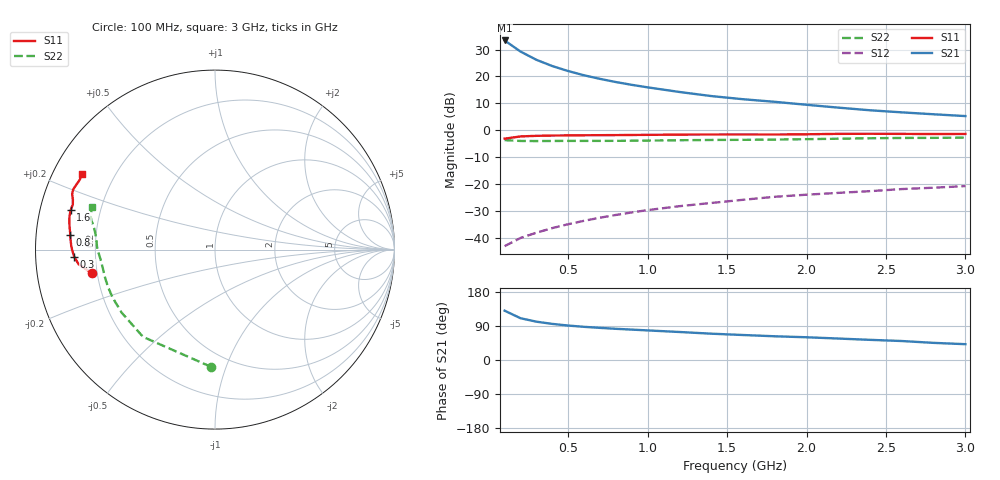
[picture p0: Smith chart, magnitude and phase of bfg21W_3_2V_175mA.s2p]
! Filename: 3_2175bfg21.001
! Title: BFG21W
! Bias: Vce=3.2V; Ic=175mA
! Company: Philips Semiconductors NL
! User: Quality&Reliability T&D
! Measure time: 10 Nov 1999 / 11:43:32
#  MHz  S  MA  R 50
! Freq  S11  S21  S12  S22  :
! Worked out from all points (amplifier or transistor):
!   20 points, 100 MHz to 3 GHz, reference 50 ohm
!   highest |S21| = 33.4 dB at 100 MHz (marker M1)
!   |S21| within 3 dB of that: start of sweep to 172.6 MHz
!   unconditionally stable (mu >= 1): 548.6 MHz to end of sweep
!   at 400 MHz: K = 0.95, MSG = 30.2 dB, |S12| = -36.5 dB
!   at 1.2 GHz: K = 1.06, MAG = 19.8 dB, |S12| = -28.3 dB
!   at 3 GHz: K = 1.05, MAG = 11.7 dB, |S12| = -20.8 dB
!   S11 on the Smith chart (normalised r, x): 100 MHz: 0.18, -0.09; 300 MHz: 0.12, -0.02; 800 MHz: 0.10, +0.05; 1.6 GHz: 0.09, +0.13; 3 GHz: 0.09, +0.26
100  0.6961 -169.0  46.84 130.1  0.006931 60.3  0.6532 -92.0
200  0.7648 -173.9  29.1 110.3  0.009842 58.3  0.6302 -129.5
300  0.7852 -177.1  20.44 101.1  0.01234 62.1  0.6276 -146.0
400  0.7944 -179.4  15.63 95.3  0.01504 65.5  0.6301 -155.0
500  0.8006 178.8  12.62 90.9  0.01777 67.9  0.6314 -160.8
600  0.8042 177.1  10.52 87.5  0.02056 69.7  0.632 -164.9
700  0.8076 175.6  9.029 84.8  0.02347 71.2  0.6323 -168.1
800  0.8105 174.1  7.881 82.3  0.02642 72.3  0.6337 -170.8
900  0.8145 172.7  6.988 80.3  0.02943 73.3  0.6368 -173.2
1000  0.8192 171.4  6.275 78.1  0.03252 73.9  0.6405 -175.3
1200  0.8272 169.0  5.147 73.9  0.03846 74.3  0.6498 -178.7
1400  0.8319 167.0  4.321 69.5  0.04415 74.1  0.6577 178.6
1600  0.8336 164.8  3.772 65.9  0.05059 74.0  0.6614 176.0
1800  0.8309 162.4  3.376 62.6  0.05755 73.7  0.669 173.3
2000  0.8395 160.6  2.97 60.0  0.06296 73.9  0.6804 170.6
2200  0.8543 158.7  2.631 56.6  0.06807 73.5  0.6941 168.4
2400  0.8583 156.9  2.347 53.2  0.07331 72.5  0.7076 166.7
2600  0.8537 155.1  2.148 50.1  0.08014 71.2  0.7165 165.2
2800  0.848 152.8  1.978 45.2  0.08501 69.4  0.7199 163.2
3000  0.8519 150.3  1.831 41.8  0.09094 68.3  0.7265 160.8
